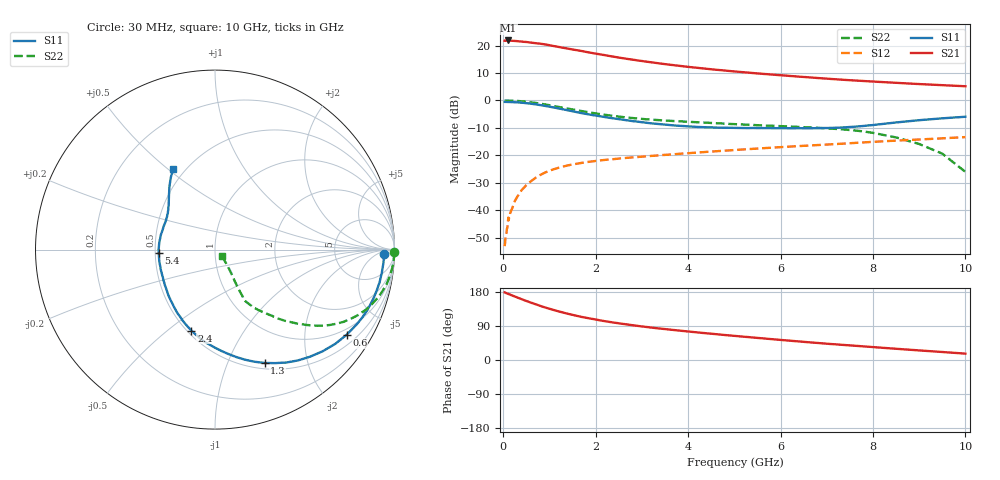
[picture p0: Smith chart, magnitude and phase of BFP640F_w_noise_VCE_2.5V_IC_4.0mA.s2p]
! Infineon Technologies  Discrete & RF Semiconductors
! BFP640F
! VCE =  2.5 V,  IC =  4.0 mA
! Common Emitter S-Parameters:  Apr 2013
# GHz  S  MA  R  50
!  f  S11  S21  S12  S22
! GHz  MAG  ANG  MAG  ANG  MAG  ANG  MAG  ANG
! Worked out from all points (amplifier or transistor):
!   99 points, 30 MHz to 10 GHz, reference 50 ohm
!   highest |S21| = 21.9 dB at 110 MHz (marker M1)
!   |S21| within 3 dB of that: start of sweep to 1.407 GHz
!   unconditionally stable (mu >= 1): 4.616 GHz to end of sweep
!   at 350 MHz: K = 0.06, MSG = 27.8 dB, |S12| = -33.9 dB
!   at 3.5 GHz: K = 0.88, MSG = 16.6 dB, |S12| = -19.8 dB
!   at 10 GHz: K = 1.13, MAG = 7.1 dB, |S12| = -13.4 dB
!   lowest NFmin = 0.49 dB at 450 MHz
!   S11 on the Smith chart (normalised r, x): 30 MHz: 28, -13; 600 MHz: 0.80, -3.20; 1.3 GHz: 0.57, -1.37; 2.4 GHz: 0.53, -0.61; 5.4 GHz: 0.52, -0.02; 10 GHz: 0.43, +0.52
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0.03  0.9434 -1.6  12.29 178.4  0.0022 82.0  0.9987 -0.9
0.04  0.9436 -2.2  12.21 178.0  0.0025 90.9  0.9982 -1.2
0.11  0.9395 -6.2  12.45 174.4  0.0073 86.8  0.9972 -3.6
0.25  0.9296 -14.0  12.22 167.6  0.0146 82.9  0.9862 -8.2
0.4  0.9114 -22.2  11.89 160.4  0.0233 79.6  0.9654 -13.1
0.6  0.8737 -32.9  11.39 151.4  0.0336 74.1  0.9262 -19.1
0.8  0.8248 -43.4  10.87 142.9  0.0437 68.8  0.8764 -24.6
0.9  0.7978 -48.4  10.57 138.9  0.0483 66.3  0.8491 -27.0
1.1  0.7443 -57.7  9.823 131.7  0.0559 61.6  0.7912 -31.5
1.3  0.689 -66.4  9.14 125.1  0.0625 57.8  0.7357 -35.1
1.7  0.587 -82.6  7.984 113.6  0.0728 52.1  0.6409 -40.5
2.1  0.5153 -96.9  6.929 104.5  0.0807 48.1  0.5639 -45.1
2.4  0.4695 -106.2  6.274 98.6  0.0854 46.0  0.5217 -47.5
2.8  0.4203 -117.8  5.559 91.7  0.0918 44.0  0.4788 -49.8
3.4  0.3696 -133.2  4.727 82.9  0.1005 42.0  0.4367 -52.7
4.2  0.3291 -151.9  3.947 72.8  0.1123 40.3  0.4014 -55.3
5.1  0.3155 -170.9  3.337 62.6  0.1264 38.3  0.3673 -57.4
5.4  0.3151 -176.5  3.17 59.4  0.1312 37.6  0.358 -58.0
6.7  0.3122 158.8  2.611 45.9  0.1522 34.1  0.3202 -59.8
8.5  0.3974 130.2  2.101 29.6  0.1854 28.5  0.212 -58.1
9.5  0.4729 121.3  1.904 21.1  0.204 24.8  0.1072 -51.6
10  0.5051 117.5  1.82 16.8  0.2148 22.6  0.0499 -43.0
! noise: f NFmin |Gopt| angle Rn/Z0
0.45  0.49  0.47  8  0.17
0.9  0.54  0.47  21  0.17
1.5  0.58  0.47  31  0.17
1.9  0.61  0.44  44  0.17
2.4  0.67  0.4  59  0.17
3.5  0.76  0.3  79  0.18
5.5  1.02  0.24  148  0.19
10  1.8  0.46  -106  0.37
